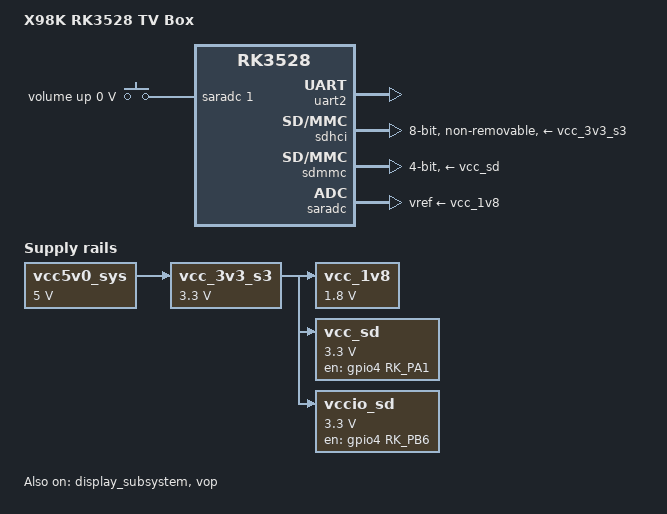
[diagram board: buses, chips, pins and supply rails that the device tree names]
/*
 * SPDX-License-Identifier:     GPL-2.0+
 *
 * Device Tree for X98K RK3528A TV Box
 * (C) Copyright 2025
 *
 * Hardware confirmed:
 * - RK3528A SoC (quad core, 4GB DDR4, 32GB eMMC)
 * - Ethernet: Motorcomm YT8531 PHY (0x00441400)
 * - WiFi: AIC8800 SDIO (use USB dongle recommended)
 * - USB: 2.0 x2, 3.0 x1
 * - HDMI, IR Remote, LEDs
 * - UART: UART2 (ttyFIQ0) at 1500000 baud
 */

/dts-v1/;
#include "rk3528.dtsi"
#include "rk3528-u-boot.dtsi"
#include <dt-bindings/input/input.h>

/ {
	model = "X98K RK3528 TV Box";
	compatible = "rockchip,x98k", "rockchip,rk3528";

	chosen {
		stdout-path = &uart2;
		u-boot,spl-boot-order = &sdmmc, &sdhci;
	};

	aliases {
		ethernet0 = &gmac1;
		mmc0 = &sdhci;  /* eMMC detected as mmc@ffbf0000: 1 by hardware */
		mmc1 = &sdmmc;  /* SD card detected as mmc@ffc30000: 0 by hardware */
	};

	config {
		u-boot,spl-boot-device = "mmc";
		u-boot,spl-boot-order = "same-as-spl", &sdmmc, &sdhci;
	};

	vcc5v0_sys: vcc5v0-sys {
		u-boot,dm-pre-reloc;
		compatible = "regulator-fixed";
		regulator-name = "vcc5v0_sys";
		regulator-always-on;
		regulator-boot-on;
		regulator-min-microvolt = <5000000>;
		regulator-max-microvolt = <5000000>;
	};

	vcc_3v3_s3: vcc-3v3-s3 {
		u-boot,dm-pre-reloc;
		compatible = "regulator-fixed";
		regulator-name = "vcc_3v3_s3";
		regulator-always-on;
		regulator-boot-on;
		regulator-min-microvolt = <3300000>;
		regulator-max-microvolt = <3300000>;
		vin-supply = <&vcc5v0_sys>;
	};

	vcc_1v8: vcc-1v8 {
		compatible = "regulator-fixed";
		regulator-name = "vcc_1v8";
		regulator-always-on;
		regulator-boot-on;
		regulator-min-microvolt = <1800000>;
		regulator-max-microvolt = <1800000>;
		vin-supply = <&vcc_3v3_s3>;
	};

	/* SD Card dedicated power supply */
	vcc_sd: vcc-sd {
		u-boot,dm-pre-reloc;
		compatible = "regulator-fixed";
		regulator-name = "vcc_sd";
		regulator-always-on;
		regulator-boot-on;
		regulator-min-microvolt = <3300000>;
		regulator-max-microvolt = <3300000>;
		enable-active-high;
		gpio = <&gpio4 RK_PA1 GPIO_ACTIVE_HIGH>;
		vin-supply = <&vcc_3v3_s3>;
	};

	/* SD Card I/O voltage switcher */
	vccio_sd: vccio-sd {
		u-boot,dm-pre-reloc;
		compatible = "regulator-fixed";
		regulator-name = "vccio_sd";
		regulator-always-on;
		regulator-boot-on;
		regulator-min-microvolt = <3300000>;
		regulator-max-microvolt = <3300000>;
		enable-active-high;
		gpio = <&gpio4 RK_PB6 GPIO_ACTIVE_HIGH>;
		vin-supply = <&vcc_3v3_s3>;
	};

	/*
	 * ADC keys - IR remote and buttons
	 * Confirmed: adc-keys present on ffa90030.pwm platform
	 */
	adc-keys {
		compatible = "adc-keys";
		io-channels = <&saradc 1>;
		io-channel-names = "buttons";
		keyup-threshold-microvolt = <1800000>;
		u-boot,dm-pre-reloc;
		status = "okay";

		volumeup-key {
			u-boot,dm-pre-reloc;
			linux,code = <KEY_VOLUMEUP>;
			label = "volume up";
			press-threshold-microvolt = <9>;
		};
	};
};

/* UART for debug console */
&uart2 {
	status = "okay";
	u-boot,dm-pre-reloc;
};

/* Keep display_subsystem enabled but HDMI disabled to avoid vendor_storage_read errors */
&display_subsystem {
	status = "okay";
};

&hdmi {
	status = "disabled";
};

&hdmi_in_vp0 {
	status = "disabled";
};

&hdmiphy {
	status = "disabled";
};

&vop {
	status = "okay";
};

&vop_mmu {
	status = "okay";
};

/* Disable SFC - X98K has no SPI flash confirmed */
&sfc {
	status = "disabled";
};

/* eMMC (sdhci) - Hardware detects as mmc@ffbf0000 */
&sdhci {
	u-boot,dm-pre-reloc;
	bus-width = <8>;
	mmc-hs200-1_8v;
	non-removable;
	supports-emmc;
	mmc-hs400-1_8v;
	mmc-hs400-enhanced-strobe;
	cap-mmc-highspeed;
	fixed-emmc-driver-type = <0x04>;
	no-sd;
	no-sdio;
	vmmc-supply = <&vcc_3v3_s3>;
	vqmmc-supply = <&vcc_1v8>;
	status = "okay";
};

/* SD card (sdmmc) - Hardware detects as mmc@ffc30000 - BOOT PRIORITY */
&sdmmc {
	u-boot,dm-pre-reloc;
	bus-width = <4>;
	cap-mmc-highspeed;
	cap-sd-highspeed;
	disable-wp;
	vmmc-supply = <&vcc_sd>;
	vqmmc-supply = <&vccio_sd>;
	status = "okay";
};

/* SARADC for ADC keys */
&saradc {
	vref-supply = <&vcc_1v8>;
	status = "okay";
	u-boot,dm-pre-reloc;
};
